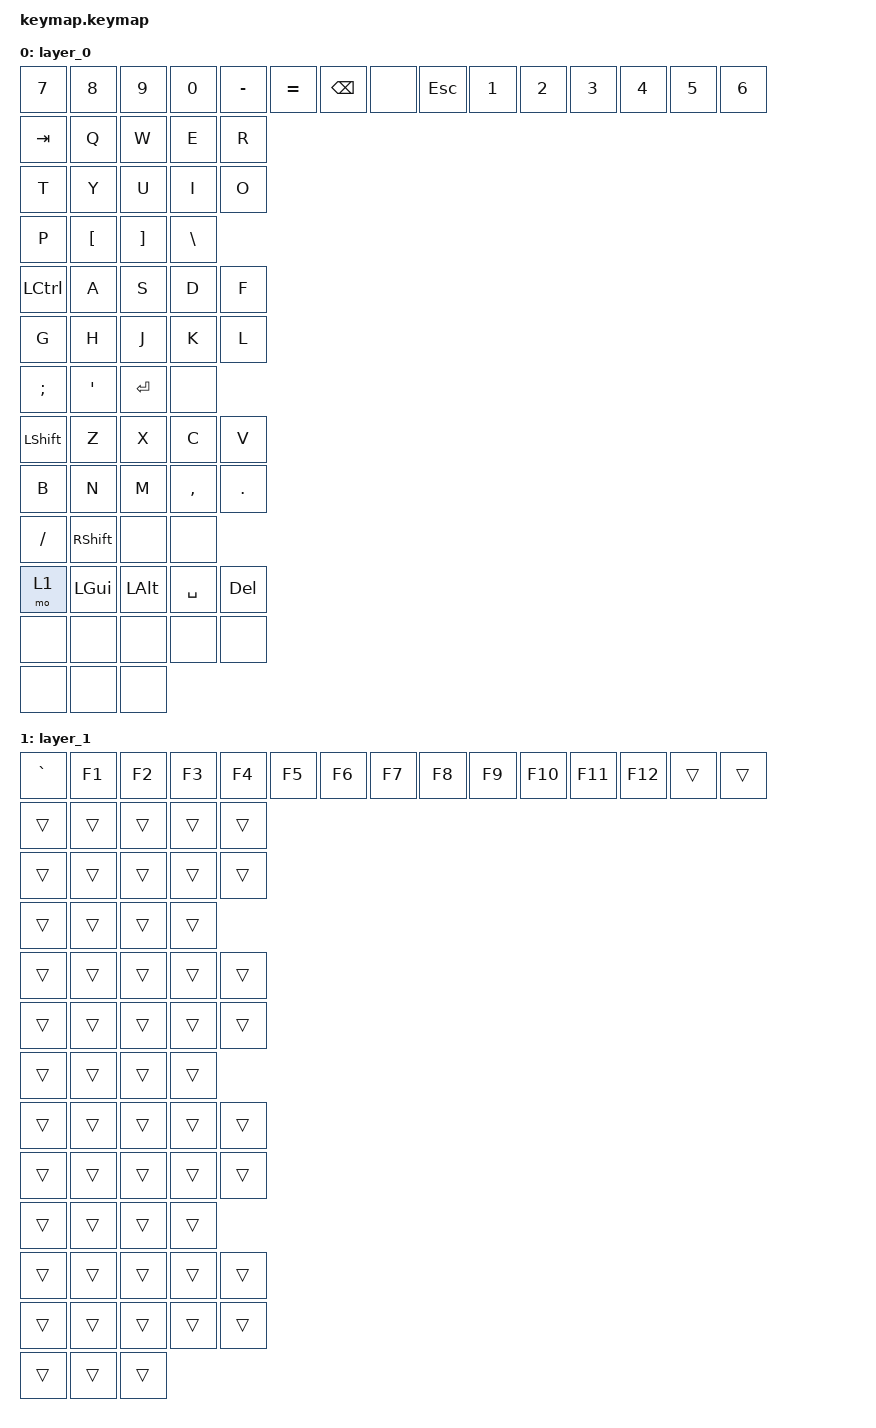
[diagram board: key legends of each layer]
#include <behaviors.dtsi>
#include <dt-bindings/zmk/keys.h>

/ {
    keymap {
        compatible = "zmk,keymap";

        /*
         * layer_0: 通常レイヤ（ほぼ 60% QWERTY レイアウト）
         *
         * 行ごとの要素数:
         *   1行目: 15
         *   2行目: 14
         *   3行目: 14
         *   4行目: 14
         *   5行目: 13
         *
         * 右下あたりの親指クラスタはまだ未確定なので &none にしてあります。
         * 必要に応じて Studio から差し替えてください。
         */

        layer_0 {
            bindings = <
                // Row 0 (上段): Esc 1 2 3 4 5 6   7 8 9 0 - = BkSp [ダミー]
                &kp N7    &kp N8    &kp N9    &kp N0    &kp MINUS &kp EQUAL &kp BSPC  &none   &kp ESC   &kp N1    &kp N2    &kp N3    &kp N4    &kp N5    &kp N6

                // Row 1: Tab Q W E R T   Y U I O P [ ] \
                &kp TAB   &kp Q     &kp W     &kp E     &kp R
                &kp T     &kp Y     &kp U     &kp I     &kp O
                &kp P     &kp LBKT  &kp RBKT  &kp BSLH

                // Row 2: Ctrl A S D F G   H J K L ; ' Ret [ダミー]
                &kp LCTRL &kp A     &kp S     &kp D     &kp F
                &kp G     &kp H     &kp J     &kp K     &kp L
                &kp SEMI  &kp APOS  &kp RET   &none

                // Row 3: LShift Z X C V B   N M , . / RShift [ダミー] [ダミー]
                &kp LSHFT &kp Z     &kp X     &kp C     &kp V
                &kp B     &kp N     &kp M     &kp COMMA &kp DOT
                &kp FSLH  &kp RSHFT &none     &none

                // Row 4: FN, GUI, ALT, Space, Del, 残りは未使用
                &mo 1     &kp LGUI  &kp LALT  &kp SPACE &kp DEL
                &none     &none     &none     &none     &none
                &none     &none     &none
            >;
        };

        /*
         * layer_1: FN レイヤ
         *
         * - 左下の FN キー（layer_0 Row4 最初のキー）を押している間だけ有効。
         * - Esc → `~`
         * - 1〜0, - , = → F1〜F12
         * - それ以外は &trans （下のレイヤのキーそのまま）
         */

        layer_1 {
            bindings = <
                // Row 0: ` ~, F1〜F12, 残りは透過
                &kp GRAVE &kp F1    &kp F2    &kp F3    &kp F4
                &kp F5    &kp F6    &kp F7    &kp F8    &kp F9
                &kp F10   &kp F11   &kp F12   &trans    &trans

                // Row 1: すべて透過
                &trans &trans &trans &trans &trans &trans
                &trans &trans &trans &trans &trans &trans
                &trans &trans

                // Row 2: すべて透過
                &trans &trans &trans &trans &trans &trans
                &trans &trans &trans &trans &trans &trans
                &trans &trans

                // Row 3: すべて透過
                &trans &trans &trans &trans &trans &trans
                &trans &trans &trans &trans &trans &trans
                &trans &trans

                // Row 4: すべて透過（FNキー自身も透過でOK）
                &trans &trans &trans &trans &trans
                &trans &trans &trans &trans &trans
                &trans &trans &trans
            >;
        };
    };
};
